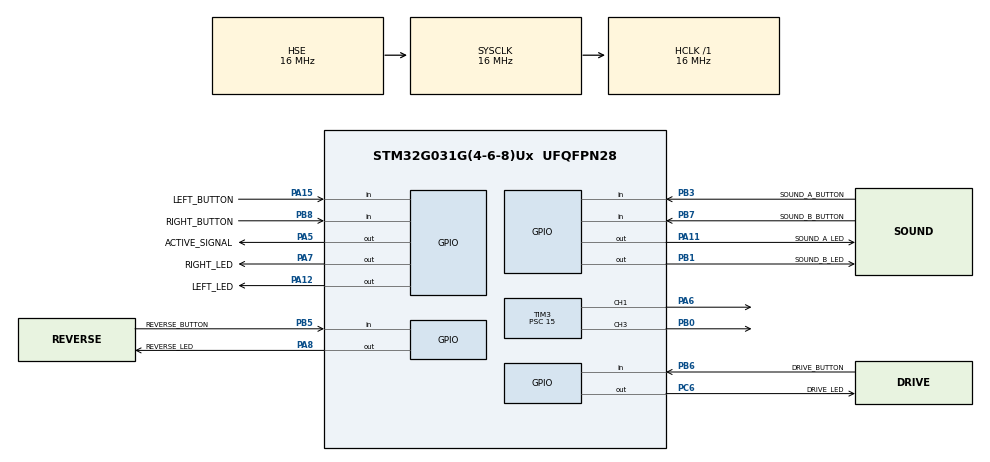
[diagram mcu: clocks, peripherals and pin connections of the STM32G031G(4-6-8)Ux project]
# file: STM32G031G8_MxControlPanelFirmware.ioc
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Mcu.Family=STM32G0
Mcu.Name=STM32G031G(4-6-8)Ux
Mcu.Package=UFQFPN28
PA11\ [PA9].GPIO_Label=SOUND_A_LED
PA11\ [PA9].GPIO_ModeDefaultOutputPP=GPIO_MODE_OUTPUT_OD
PA11\ [PA9].GPIO_PuPd=GPIO_NOPULL
PA11\ [PA9].PinState=GPIO_PIN_RESET
PA11\ [PA9].Signal=GPIO_Output
PA12\ [PA10].GPIO_Label=LEFT_LED
PA12\ [PA10].GPIO_ModeDefaultOutputPP=GPIO_MODE_OUTPUT_OD
PA12\ [PA10].GPIO_PuPd=GPIO_NOPULL
PA12\ [PA10].PinState=GPIO_PIN_RESET
PA12\ [PA10].Signal=GPIO_Output
PA13.Mode=Serial_Wire
PA13.Signal=SYS_SWDIO
PA14-BOOT0.Mode=Serial_Wire
PA14-BOOT0.Signal=SYS_SWCLK
PA15.GPIO_Label=LEFT_BUTTON
PA15.GPIO_PuPd=GPIO_NOPULL
PA15.Signal=GPIO_Input
PA5.GPIO_Label=ACTIVE_SIGNAL
PA5.PinState=GPIO_PIN_SET
PA5.Signal=GPIO_Output
PA6.Signal=S_TIM3_CH1
PA7.GPIO_Label=RIGHT_LED
PA7.GPIO_ModeDefaultOutputPP=GPIO_MODE_OUTPUT_OD
PA7.GPIO_PuPd=GPIO_NOPULL
PA7.PinState=GPIO_PIN_RESET
PA7.Signal=GPIO_Output
PA8.GPIO_Label=REVERSE_LED
PA8.GPIO_ModeDefaultOutputPP=GPIO_MODE_OUTPUT_OD
PA8.GPIO_PuPd=GPIO_NOPULL
PA8.PinState=GPIO_PIN_RESET
PA8.Signal=GPIO_Output
PB0.Signal=S_TIM3_CH3
PB1.GPIO_Label=SOUND_B_LED
PB1.GPIO_ModeDefaultOutputPP=GPIO_MODE_OUTPUT_OD
PB1.GPIO_PuPd=GPIO_NOPULL
PB1.PinState=GPIO_PIN_RESET
PB1.Signal=GPIO_Output
PB3.GPIO_Label=SOUND_A_BUTTON
PB3.Signal=GPIO_Input
PB5.GPIO_Label=REVERSE_BUTTON
PB5.GPIO_PuPd=GPIO_NOPULL
PB5.Signal=GPIO_Input
PB6.GPIO_Label=DRIVE_BUTTON
PB6.GPIO_PuPd=GPIO_NOPULL
PB6.Signal=GPIO_Input
PB7.GPIO_Label=SOUND_B_BUTTON
PB7.Signal=GPIO_Input
PB8.GPIO_Label=RIGHT_BUTTON
PB8.GPIO_PuPd=GPIO_NOPULL
PB8.Signal=GPIO_Input
PC14-OSC32_IN\ (PC14).Mode=HSE-External-Clock-Source
PC14-OSC32_IN\ (PC14).Signal=RCC_OSC_IN
PC6.GPIO_Label=DRIVE_LED
PC6.GPIO_ModeDefaultOutputPP=GPIO_MODE_OUTPUT_OD
PC6.GPIO_PuPd=GPIO_NOPULL
PC6.PinState=GPIO_PIN_RESET
PC6.Signal=GPIO_Output
ProjectManager.HeapSize=0x200
ProjectManager.StackSize=0x400
ProjectManager.TargetToolchain=STM32CubeIDE
RCC.ADCFreq_Value=16000000
RCC.AHBFreq_Value=16000000
RCC.CortexFreq_Value=16000000
RCC.EXTERNAL_CLOCK_VALUE=12288000
RCC.HCLKFreq_Value=16000000
RCC.HSE_VALUE=16000000
RCC.HSI_VALUE=16000000
RCC.LSE_VALUE=32768
RCC.PLLSourceVirtual=RCC_PLLSOURCE_HSE
RCC.SYSCLKFreq_VALUE=16000000
RCC.SYSCLKSource=RCC_SYSCLKSOURCE_HSE
RCC.VCOOutputFreq_Value=128000000
SH.S_TIM3_CH1.0=TIM3_CH1,PWM Generation1 CH1
SH.S_TIM3_CH3.0=TIM3_CH3,PWM Generation3 CH3
TIM3.Channel-PWM\ Generation1\ CH1=TIM_CHANNEL_1
TIM3.Channel-PWM\ Generation3\ CH3=TIM_CHANNEL_3
TIM3.Period=1000
TIM3.Prescaler=15
TIM3.Pulse-PWM\ Generation1\ CH1=500
board=custom

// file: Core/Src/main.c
/* USER CODE BEGIN Header */
/**
  ******************************************************************************
  * @file           : main.c
  * @brief          : Main program body
  ******************************************************************************
  * @attention
  *
  * Copyright (c) 2025 STMicroelectronics.
  * All rights reserved.
  *
  * This software is licensed under terms that can be found in the LICENSE file
  * in the root directory of this software component.
  * If no LICENSE file comes with this software, it is provided AS-IS.
  *
  ******************************************************************************
  */
/* USER CODE END Header */
#include "main.h"

TIM_HandleTypeDef htim3;

/* USER CODE BEGIN PV */
#define THROTTLE_OFF		500
#define THROTTLE_FORWARD	800
#define THROTTLE_REVERSE	200

#define STEERING_STRAIGHT	500
#define STEERING_LEFT		200
#define STEERING_RIGHT		800
/* USER CODE END PV */

void SystemClock_Config(void);
static void MX_GPIO_Init(void);
static void MX_TIM3_Init(void);

int main(void)
{

  /* USER CODE BEGIN 1 */
	  uint16_t pwmSteering = STEERING_STRAIGHT;
	  uint16_t pwmThrottle = THROTTLE_OFF;
	  int throttleOn = 0;

  /* USER CODE END 1 */

  /* MCU Configuration--------------------------------------------------------*/

  /* Reset of all peripherals, Initializes the Flash interface and the Systick. */
  HAL_Init();

  /* Configure the system clock */
  SystemClock_Config();

  /* Initialize all configured peripherals */
  MX_GPIO_Init();
  MX_TIM3_Init();
  /* USER CODE BEGIN 2 */
  HAL_TIM_PWM_Start(&htim3, TIM_CHANNEL_1);
  HAL_TIM_PWM_Start(&htim3, TIM_CHANNEL_3);
  /* USER CODE END 2 */

  /* Infinite loop */
  /* USER CODE BEGIN WHILE */

  // Animate Button LEDs in a loop twice
  LedLightChase(125);
  LedLightChase(125);

  // Blink all Button LEDs twice
  LedBlink(125);
  LedBlink(125);

  // Turn on all Button LEDs
  SetAllLeds(GPIO_PIN_SET);

  while (1)
  {
	  // All Buttons are connected to GND so their logic is inverted
	  if (!HAL_GPIO_ReadPin(DRIVE_BUTTON_GPIO_Port, DRIVE_BUTTON_Pin)) {
		  // Drive Straight Button Pressed
		  throttleOn = 1;
		  pwmSteering = STEERING_STRAIGHT;
	  } else if (!HAL_GPIO_ReadPin(LEFT_BUTTON_GPIO_Port, LEFT_BUTTON_Pin)) {
		  // Drive Left Button Pressed
		  throttleOn = 1;
		  pwmSteering = STEERING_LEFT;
	  } else if (!HAL_GPIO_ReadPin(RIGHT_BUTTON_GPIO_Port, RIGHT_BUTTON_Pin)) {
		  // Drive Right Button Pressed
		  throttleOn = 1;
		  pwmSteering = STEERING_RIGHT;
	  } else {
		  throttleOn = 0;
		  pwmSteering = STEERING_STRAIGHT;
	  }

	  if (!HAL_GPIO_ReadPin(REVERSE_BUTTON_GPIO_Port, REVERSE_BUTTON_Pin)) {
		  HAL_GPIO_WritePin(REVERSE_LED_GPIO_Port, REVERSE_LED_Pin, GPIO_PIN_SET);
		  if (throttleOn) {
			  pwmThrottle = THROTTLE_REVERSE;
		  } else {
			  pwmThrottle = THROTTLE_OFF;
		  }
	  } else {
		  HAL_GPIO_WritePin(REVERSE_LED_GPIO_Port, REVERSE_LED_Pin, GPIO_PIN_RESET);
		  if (throttleOn) {
			  pwmThrottle = THROTTLE_FORWARD;
		  } else {
			  pwmThrottle = THROTTLE_OFF;
		  }
	  }

	  __HAL_TIM_SET_COMPARE(&htim3, TIM_CHANNEL_3, pwmSteering);
	  __HAL_TIM_SET_COMPARE(&htim3, TIM_CHANNEL_1, pwmThrottle);

    /* USER CODE END WHILE */

  }
}

void SystemClock_Config(void)
{
  RCC_OscInitTypeDef RCC_OscInitStruct = {0};
  RCC_ClkInitTypeDef RCC_ClkInitStruct = {0};

  /** Configure the main internal regulator output voltage
  */
  HAL_PWREx_ControlVoltageScaling(PWR_REGULATOR_VOLTAGE_SCALE1);

  /** Initializes the RCC Oscillators according to the specified parameters
  * in the RCC_OscInitTypeDef structure.
  */
  RCC_OscInitStruct.OscillatorType = RCC_OSCILLATORTYPE_HSE;
  RCC_OscInitStruct.HSEState = RCC_HSE_BYPASS;
  RCC_OscInitStruct.PLL.PLLState = RCC_PLL_NONE;
  if (HAL_RCC_OscConfig(&RCC_OscInitStruct) != HAL_OK)
  {
    Error_Handler();
  }

  /** Initializes the CPU, AHB and APB buses clocks
  */
  RCC_ClkInitStruct.ClockType = RCC_CLOCKTYPE_HCLK|RCC_CLOCKTYPE_SYSCLK
                              |RCC_CLOCKTYPE_PCLK1;
  RCC_ClkInitStruct.SYSCLKSource = RCC_SYSCLKSOURCE_HSE;
  RCC_ClkInitStruct.AHBCLKDivider = RCC_SYSCLK_DIV1;
  RCC_ClkInitStruct.APB1CLKDivider = RCC_HCLK_DIV1;

  if (HAL_RCC_ClockConfig(&RCC_ClkInitStruct, FLASH_LATENCY_0) != HAL_OK)
  {
    Error_Handler();
  }
}

static void MX_TIM3_Init(void)
{

  TIM_MasterConfigTypeDef sMasterConfig = {0};
  TIM_OC_InitTypeDef sConfigOC = {0};

  htim3.Instance = TIM3;
  htim3.Init.Prescaler = 15;
  htim3.Init.CounterMode = TIM_COUNTERMODE_UP;
  htim3.Init.Period = 1000;
  htim3.Init.ClockDivision = TIM_CLOCKDIVISION_DIV1;
  htim3.Init.AutoReloadPreload = TIM_AUTORELOAD_PRELOAD_DISABLE;
  if (HAL_TIM_PWM_Init(&htim3) != HAL_OK)
  {
    Error_Handler();
  }
  sMasterConfig.MasterOutputTrigger = TIM_TRGO_RESET;
  sMasterConfig.MasterSlaveMode = TIM_MASTERSLAVEMODE_DISABLE;
  if (HAL_TIMEx_MasterConfigSynchronization(&htim3, &sMasterConfig) != HAL_OK)
  {
    Error_Handler();
  }
  sConfigOC.OCMode = TIM_OCMODE_PWM1;
  sConfigOC.Pulse = 500;
  sConfigOC.OCPolarity = TIM_OCPOLARITY_HIGH;
  sConfigOC.OCFastMode = TIM_OCFAST_DISABLE;
  if (HAL_TIM_PWM_ConfigChannel(&htim3, &sConfigOC, TIM_CHANNEL_1) != HAL_OK)
  {
    Error_Handler();
  }
  sConfigOC.Pulse = 0;
  if (HAL_TIM_PWM_ConfigChannel(&htim3, &sConfigOC, TIM_CHANNEL_3) != HAL_OK)
  {
    Error_Handler();
  }
  HAL_TIM_MspPostInit(&htim3);

}

static void MX_GPIO_Init(void)
{
  GPIO_InitTypeDef GPIO_InitStruct = {0};

  /* GPIO Ports Clock Enable */
  __HAL_RCC_GPIOC_CLK_ENABLE();
  __HAL_RCC_GPIOA_CLK_ENABLE();
  __HAL_RCC_GPIOB_CLK_ENABLE();

  /*Configure GPIO pin Output Level */
  HAL_GPIO_WritePin(ACTIVE_SIGNAL_GPIO_Port, ACTIVE_SIGNAL_Pin, GPIO_PIN_SET);

  /*Configure GPIO pin Output Level */
  HAL_GPIO_WritePin(GPIOA, RIGHT_LED_Pin|REVERSE_LED_Pin|SOUND_A_LED_Pin|LEFT_LED_Pin, GPIO_PIN_RESET);

  /*Configure GPIO pin Output Level */
  HAL_GPIO_WritePin(SOUND_B_LED_GPIO_Port, SOUND_B_LED_Pin, GPIO_PIN_RESET);

  /*Configure GPIO pin Output Level */
  HAL_GPIO_WritePin(DRIVE_LED_GPIO_Port, DRIVE_LED_Pin, GPIO_PIN_RESET);

  /*Configure GPIO pin : ACTIVE_SIGNAL_Pin */
  GPIO_InitStruct.Pin = ACTIVE_SIGNAL_Pin;
  GPIO_InitStruct.Mode = GPIO_MODE_OUTPUT_PP;
  GPIO_InitStruct.Pull = GPIO_NOPULL;
  GPIO_InitStruct.Speed = GPIO_SPEED_FREQ_LOW;
  HAL_GPIO_Init(ACTIVE_SIGNAL_GPIO_Port, &GPIO_InitStruct);

  /*Configure GPIO pins : RIGHT_LED_Pin REVERSE_LED_Pin SOUND_A_LED_Pin LEFT_LED_Pin */
  GPIO_InitStruct.Pin = RIGHT_LED_Pin|REVERSE_LED_Pin|SOUND_A_LED_Pin|LEFT_LED_Pin;
  GPIO_InitStruct.Mode = GPIO_MODE_OUTPUT_OD;
  GPIO_InitStruct.Pull = GPIO_NOPULL;
  GPIO_InitStruct.Speed = GPIO_SPEED_FREQ_LOW;
  HAL_GPIO_Init(GPIOA, &GPIO_InitStruct);

  /*Configure GPIO pin : SOUND_B_LED_Pin */
  GPIO_InitStruct.Pin = SOUND_B_LED_Pin;
  GPIO_InitStruct.Mode = GPIO_MODE_OUTPUT_OD;
  GPIO_InitStruct.Pull = GPIO_NOPULL;
  GPIO_InitStruct.Speed = GPIO_SPEED_FREQ_LOW;
  HAL_GPIO_Init(SOUND_B_LED_GPIO_Port, &GPIO_InitStruct);

  /*Configure GPIO pin : DRIVE_LED_Pin */
  GPIO_InitStruct.Pin = DRIVE_LED_Pin;
  GPIO_InitStruct.Mode = GPIO_MODE_OUTPUT_OD;
  GPIO_InitStruct.Pull = GPIO_NOPULL;
  GPIO_InitStruct.Speed = GPIO_SPEED_FREQ_LOW;
  HAL_GPIO_Init(DRIVE_LED_GPIO_Port, &GPIO_InitStruct);

  /*Configure GPIO pin : LEFT_BUTTON_Pin */
  GPIO_InitStruct.Pin = LEFT_BUTTON_Pin;
  GPIO_InitStruct.Mode = GPIO_MODE_INPUT;
  GPIO_InitStruct.Pull = GPIO_NOPULL;
  HAL_GPIO_Init(LEFT_BUTTON_GPIO_Port, &GPIO_InitStruct);

  /*Configure GPIO pins : SOUND_A_BUTTON_Pin REVERSE_BUTTON_Pin DRIVE_BUTTON_Pin SOUND_B_BUTTON_Pin
                           RIGHT_BUTTON_Pin */
  GPIO_InitStruct.Pin = SOUND_A_BUTTON_Pin|REVERSE_BUTTON_Pin|DRIVE_BUTTON_Pin|SOUND_B_BUTTON_Pin
                          |RIGHT_BUTTON_Pin;
  GPIO_InitStruct.Mode = GPIO_MODE_INPUT;
  GPIO_InitStruct.Pull = GPIO_NOPULL;
  HAL_GPIO_Init(GPIOB, &GPIO_InitStruct);

}

/* USER CODE BEGIN 4 */
void LedLightChase(int delay)
{
	HAL_GPIO_WritePin(LEFT_LED_GPIO_Port, LEFT_LED_Pin, GPIO_PIN_SET);
	HAL_Delay(delay);
	HAL_GPIO_WritePin(LEFT_LED_GPIO_Port, LEFT_LED_Pin, GPIO_PIN_RESET);
	HAL_Delay(delay);
	HAL_GPIO_WritePin(DRIVE_LED_GPIO_Port, DRIVE_LED_Pin, GPIO_PIN_SET);
	HAL_Delay(delay);
	HAL_GPIO_WritePin(DRIVE_LED_GPIO_Port, DRIVE_LED_Pin, GPIO_PIN_RESET);
	HAL_Delay(delay);
	HAL_GPIO_WritePin(RIGHT_LED_GPIO_Port, RIGHT_LED_Pin, GPIO_PIN_SET);
	HAL_Delay(delay);
	HAL_GPIO_WritePin(RIGHT_LED_GPIO_Port, RIGHT_LED_Pin, GPIO_PIN_RESET);
	HAL_Delay(delay);
	HAL_GPIO_WritePin(SOUND_A_LED_GPIO_Port, SOUND_A_LED_Pin, GPIO_PIN_SET);
	HAL_Delay(delay);
	HAL_GPIO_WritePin(SOUND_A_LED_GPIO_Port, SOUND_A_LED_Pin, GPIO_PIN_RESET);
	HAL_Delay(delay);
	HAL_GPIO_WritePin(SOUND_B_LED_GPIO_Port, SOUND_B_LED_Pin, GPIO_PIN_SET);
	HAL_Delay(delay);
	HAL_GPIO_WritePin(SOUND_B_LED_GPIO_Port, SOUND_B_LED_Pin, GPIO_PIN_RESET);
	HAL_Delay(delay);
}

void LedBlink(int delay)
{
	SetAllLeds(GPIO_PIN_SET);

	HAL_Delay(delay);

	SetAllLeds(GPIO_PIN_RESET);

	HAL_Delay(delay);
}

void SetAllLeds(GPIO_PinState state)
{
	HAL_GPIO_WritePin(LEFT_LED_GPIO_Port, LEFT_LED_Pin, state);
	HAL_GPIO_WritePin(DRIVE_LED_GPIO_Port, DRIVE_LED_Pin, state);
	HAL_GPIO_WritePin(RIGHT_LED_GPIO_Port, RIGHT_LED_Pin, state);
	HAL_GPIO_WritePin(SOUND_A_LED_GPIO_Port, SOUND_A_LED_Pin, state);
	HAL_GPIO_WritePin(SOUND_B_LED_GPIO_Port, SOUND_B_LED_Pin, state);
}

/* USER CODE END 4 */

void Error_Handler(void)
{
  __disable_irq();
  while (1)
  {
  }
}
